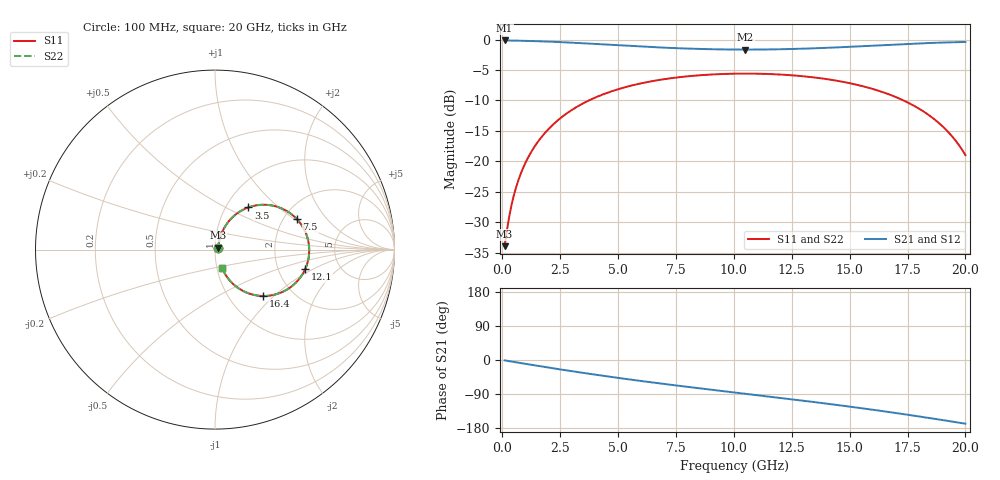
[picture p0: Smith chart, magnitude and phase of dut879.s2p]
! Touchstone file exported from HFSS 2026.1.0
!  File:  C:/ffzhzh/LocalFiles/Ansys_Project_Files/temp_train_TSV_RDL_879_1783273367_30076.aedt
!  Generated:  01:55:41 AM Jul  6, 2026
!  Design:  TSV_RDL
!  Project:  temp_train_TSV_RDL_879_1783273367_30076
! Variables:
!  h_bsmrdl = 2.05um
!  h_ox = 20um
!  h_rdl = 5um
!  h_sub = 86.51um
!  h_tmrdl = 3.26um
!  h_tsv = 86.51um
!  h_via = 3um
!  l_bsmrdl = 168.26um
!  l_sub = 2722.51um
!  l_tmrdl = 418.38um
!  m_sub = 200um
!  pitch = 48.34um
!  r_tsv = 3.51um
!  s_tmrdl = 10um
!  w_bsmrdl = 22.23um
!  w_sub = 500um
!  w_tmrdl = 25.84um
!  x_tsv_center1 = 431.3um
!  x_tsv_center2 = 621.79um
!  x_tsv_center3 = 1066.01um
!  x_tsv_center4 = 1256.5um
!  x_tsv_center5 = 1700.72um
!  x_tsv_center6 = 1891.21um
# GHz S MA R 50.000000
! Terminal data exported
! Port[1] = TM_RDL1_1_T1
! Port[2] = TM_RDL5_1_T1
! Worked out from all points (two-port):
!   200 points, 100 MHz to 20 GHz, reference 50 ohm
!   highest |S21| = -0.15 dB at 100 MHz (marker M1); lowest = -1.7 dB at 10.5 GHz (marker M2)
!   |S21| within 3 dB of the highest: start of sweep to end of sweep
!   lowest |S11| = -34.0 dB at 100 MHz (marker M3), VSWR 1.04, Z = 51.8 + j1.03 ohm
!   |S11| at or under -10 dB: start of sweep to 3.745 GHz; 17.32 GHz to end of sweep
!   |S22| runs from -34.0 to -5.6 dB; largest |S21 - S12| = 4.3e-14
!   S11 on the Smith chart (normalised r, x): 100 MHz: 1.04, +0.02; 3.5 GHz: 1.27, +0.65; 7.5 GHz: 2.35, +1.05; 12.1 GHz: 2.85, -0.83; 16.4 GHz: 1.43, -0.86; 20 GHz: 1.06, -0.23
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0.1  0.02007 29.9  0.9827 -1.1  0.9827 -1.1  0.02007 29.9
! Gamma 0 0 0 0
! Port Impedance 50 0 50 0
0.3  0.03524 55.6  0.9813 -3.1  0.9813 -3.1  0.03524 55.6
0.5  0.05264 63.4  0.9795 -5.2  0.9795 -5.2  0.05264 63.4
0.8  0.07924 67.2  0.9769 -8.2  0.9769 -8.2  0.07924 67.2
1.2  0.1148 67.5  0.9729 -12.1  0.9729 -12.1  0.1148 67.5
1.7  0.1586 65.3  0.9663 -17.1  0.9663 -17.1  0.1586 65.3
2.2  0.2008 62.0  0.9582 -21.9  0.9582 -21.9  0.2008 62.0
3.5  0.2997 51.6  0.9316 -34.1  0.9316 -34.1  0.2997 51.6
5.1  0.3957 38.6  0.8949 -48.1  0.8949 -48.1  0.3957 38.6
6.8  0.4664 25.5  0.8606 -61.8  0.8606 -61.8  0.4664 25.5
7.5  0.4869 20.4  0.8494 -67.1  0.8494 -67.1  0.4869 20.4
10.1  0.5244 1.9  0.8274 -86.2  0.8274 -86.2  0.5244 1.9
10.5  0.5251 -0.8  0.827 -89.1  0.827 -89.1  0.5251 -0.9
12.1  0.5146 -12.0  0.8328 -100.8  0.8328 -100.8  0.5146 -12.0
13.4  0.4899 -21.3  0.8462 -110.5  0.8462 -110.5  0.4899 -21.3
15  0.4381 -33.2  0.8713 -123.0  0.8713 -123.0  0.438 -33.2
16.4  0.3714 -44.1  0.8982 -134.7  0.8982 -134.7  0.3714 -44.1
16.7  0.3545 -46.4  0.9042 -137.3  0.9042 -137.3  0.3545 -46.5
17.8  0.2843 -55.2  0.9253 -147.1  0.9253 -147.1  0.2843 -55.2
18.7  0.2182 -62.0  0.9402 -155.5  0.9402 -155.5  0.2182 -62.1
19.4  0.1624 -66.6  0.9493 -162.2  0.9493 -162.2  0.1624 -66.6
20  0.1124 -68.9  0.9548 -168.0  0.9548 -168.0  0.1124 -68.9
